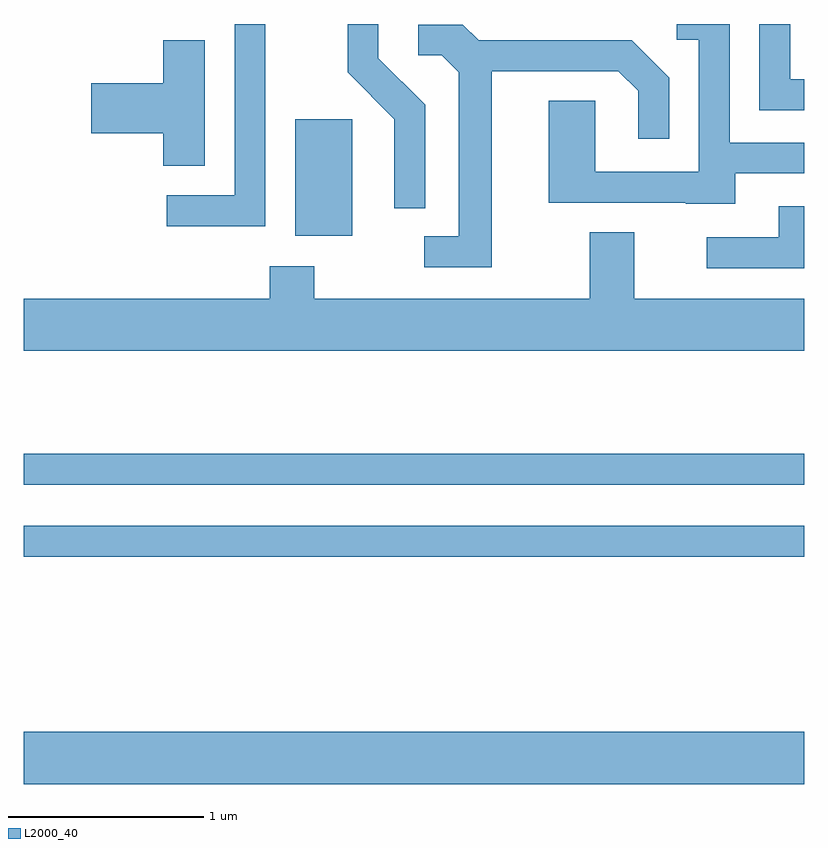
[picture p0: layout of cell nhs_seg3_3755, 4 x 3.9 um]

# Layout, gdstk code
import gdstk
lib = gdstk.Library(unit=1e-6, precision=1e-09)
def R(c, l, rs):  # rectangles x0, y0, x1, y1
    for r in rs: c.add(gdstk.rectangle(r[:2], r[2:], *l))
def P(c, l, *ps):  # polygons
    for p in ps: c.add(gdstk.Polygon(p, *l))
L2000_40 = (2000, 40)

nhs_seg3_3755 = lib.new_cell('nhs_seg3_3755')
R(nhs_seg3_3755, L2000_40, [(295.611,1145.996,299.611,1146.264), (295.611,1147.161,299.611,1147.319), (295.611,1147.531,299.611,1147.689), (297.001,1148.806,297.294,1149.404)])
P(nhs_seg3_3755, L2000_40, [(296.849,1149.892),(296.691,1149.892),(296.691,1149.014),(296.343,1149.014),(296.343,1148.856),(296.849,1148.856)],
  [(297.669,1149.477),(297.429,1149.717),(297.429,1149.892),(297.271,1149.892),(297.271,1149.644),(297.511,1149.404),(297.511,1148.948),(297.669,1148.948)],
  [(299.611,1149.609),(299.539,1149.609),(299.539,1149.892),(299.381,1149.892),(299.381,1149.451),(299.611,1149.451)],
  [(299.259,1149.126),(299.611,1149.126),(299.611,1149.284),(299.229,1149.284),(299.229,1149.892),(298.958,1149.892),(298.958,1149.811),(299.071,1149.811),(299.071,1149.134),(298.539,1149.134),(298.539,1149.499),(298.301,1149.499),(298.301,1148.976),(299.005,1148.976),(299.005,1148.971),(299.259,1148.971)],
  [(298.009,1149.651),(298.659,1149.651),(298.761,1149.549),(298.761,1149.303),(298.919,1149.303),(298.919,1149.617),(298.727,1149.809),(297.942,1149.809),(297.862,1149.889),(297.633,1149.889),(297.633,1149.731),(297.754,1149.731),(297.841,1149.644),(297.841,1148.804),(297.663,1148.804),(297.663,1148.646),(298.009,1148.646)],
  [(296.539,1149.809),(296.326,1149.809),(296.326,1149.589),(295.956,1149.589),(295.956,1149.331),(296.326,1149.331),(296.326,1149.166),(296.539,1149.166)],
  [(299.611,1148.959),(299.481,1148.959),(299.481,1148.799),(299.113,1148.799),(299.113,1148.641),(299.611,1148.641)],
  [(299.611,1148.484),(298.739,1148.484),(298.739,1148.824),(298.511,1148.824),(298.511,1148.484),(297.099,1148.484),(297.099,1148.649),(296.871,1148.649),(296.871,1148.484),(295.611,1148.484),(295.611,1148.216),(299.611,1148.216)])

lib.write_gds('nhs_seg3_3755.gds')
